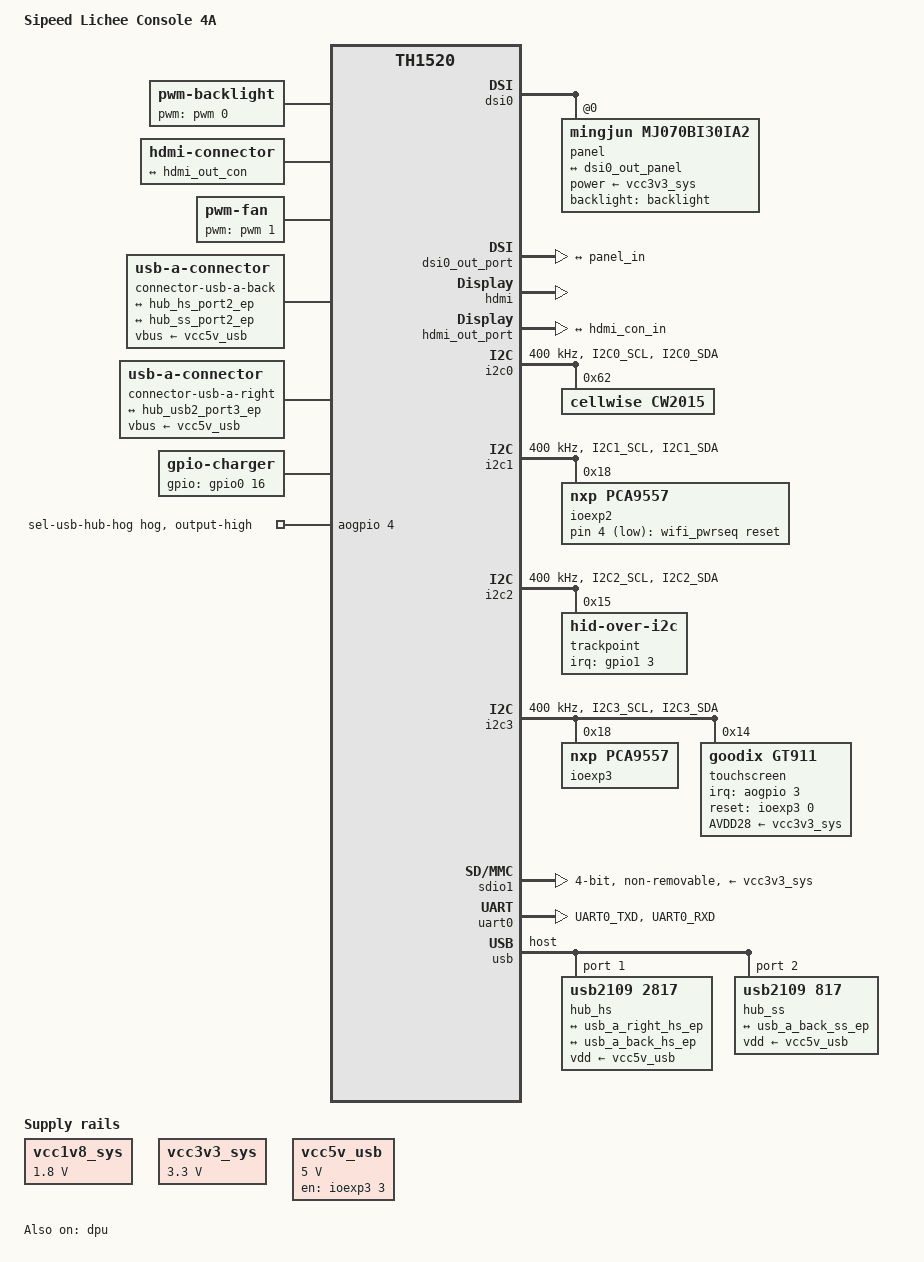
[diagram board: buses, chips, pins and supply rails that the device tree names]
// SPDX-License-Identifier: (GPL-2.0 OR MIT)
/*
 * Copyright (C) 2023 Jisheng Zhang <jszhang@kernel.org>
 */

#include "th1520-lichee-module-4a.dtsi"
#include <dt-bindings/gpio/gpio.h>

/ {
	model = "Sipeed Lichee Console 4A";
	compatible = "sipeed,lichee-console-4a", "sipeed,lichee-module-4a", "thead,th1520";

	aliases {
		gpio0 = &gpio0;
		gpio1 = &gpio1;
		gpio2 = &gpio2;
		gpio3 = &gpio3;
		gpio4 = &gpio4;
		gpio5 = &aogpio;
		serial0 = &uart0;
		serial1 = &uart1;
		serial2 = &uart2;
		serial3 = &uart3;
		serial4 = &uart4;
		serial5 = &uart5;
		spi0 = &spi0;
	};

	backlight: backlight {
		compatible = "pwm-backlight";
		pwms = <&pwm 0 50000 0>;
		brightness-levels = <0 255>;
		default-brightness-level = <8>;
		num-interpolated-steps = <10>;
	};

	chosen {
		stdout-path = "serial0:115200n8";
	};

	hdmi-connector {
		compatible = "hdmi-connector";
		type = "c";

		port {
			hdmi_con_in: endpoint {
				remote-endpoint = <&hdmi_out_con>;
			};
		};
	};

	wifi_pwrseq: wifi-pwrseq {
		compatible = "mmc-pwrseq-simple";
		reset-gpios = <&ioexp2 4 GPIO_ACTIVE_LOW>;
		post-power-on-delay-ms = <200>;
	};

	thermal-zones {
		cpu-thermal {
			polling-delay = <1000>;
			polling-delay-passive = <1000>;
			thermal-sensors = <&pvt 0>;

			trips {
				fan_config0: fan-trip0 {
					temperature = <39000>;
					hysteresis = <5000>;
					type = "active";
				};

				fan_config1: fan-trip1 {
					temperature = <50000>;
					hysteresis = <5000>;
					type = "active";
				};

				fan_config2: fan-trip2 {
					temperature = <60000>;
					hysteresis = <5000>;
					type = "active";
				};
			};

			cooling-maps {
				map-active-0 {
					cooling-device = <&fan 1 1>;
					trip = <&fan_config0>;
				};

				map-active-1 {
					cooling-device = <&fan 2 2>;
					trip = <&fan_config1>;
				};

				map-active-2 {
					cooling-device = <&fan 3 3>;
					trip = <&fan_config2>;
				};
			};
		};
	};

	fan: pwm-fan {
		pinctrl-names = "default";
		pinctrl-0 = <&fan_pins>;
		compatible = "pwm-fan";
		#cooling-cells = <2>;
		pwms = <&pwm 1 10000000 0>;
		cooling-levels = <0 66 196 255>;
	};

	vcc1v8_sys: regulator-sys-1v8 {
		status = "okay";
		compatible = "regulator-fixed";
		regulator-name = "vcc1v8-sys";
		regulator-min-microvolt = <1800000>;
		regulator-max-microvolt = <1800000>;
		regulator-always-on;
	};

	vcc3v3_sys: regulator-sys-3v3 {
		status = "okay";
		compatible = "regulator-fixed";
		regulator-name = "vcc3v3-sys";
		regulator-min-microvolt = <3300000>;
		regulator-max-microvolt = <3300000>;
		regulator-always-on;
	};

	vcc5v_usb: regulator-hub-5v {
		compatible = "regulator-fixed";
		regulator-name = "vcc5v-usb";
		regulator-min-microvolt = <5000000>;
		regulator-max-microvolt = <5000000>;
		gpio = <&ioexp3 3 GPIO_ACTIVE_HIGH>;
		enable-active-high;
	};

	connector-usb-a-back {
		compatible = "usb-a-connector";
		vbus-supply = <&vcc5v_usb>;

		ports {
			#address-cells = <1>;
			#size-cells = <0>;

			port@0 {
				reg = <0>;

				usb_a_back_hs_ep: endpoint {
					remote-endpoint = <&hub_hs_port2_ep>;
				};
			};

			port@1 {
				reg = <1>;

				usb_a_back_ss_ep: endpoint {
					remote-endpoint = <&hub_ss_port2_ep>;
				};
			};
		};
	};

	connector-usb-a-right {
		compatible = "usb-a-connector";
		vbus-supply = <&vcc5v_usb>;

		ports {
			#address-cells = <1>;
			#size-cells = <0>;

			port@0 {
				reg = <0>;

				usb_a_right_hs_ep: endpoint {
					remote-endpoint = <&hub_usb2_port3_ep>;
				};
			};
		};
	};

	/* TODO: USB Type-C connector */

	charger: dc-charger {
		compatible = "gpio-charger";
		charger-type = "mains";
		gpios = <&gpio0 16 GPIO_ACTIVE_HIGH>;
	};
};

&aogpio {
	/* Route USB2 to the onboard hub for normal operation */
	sel-usb-hub-hog {
		gpio-hog;
		gpios = <4 GPIO_ACTIVE_HIGH>;
		output-high;
	};
};

&dpu {
	status = "okay";
};

&dsi0 {
	status = "okay";

	panel@0 {
		compatible = "mingjun,mj070bi30ia2", "ilitek,ili9881c";
		reg = <0>;
		backlight = <&backlight>;
		power-supply = <&vcc3v3_sys>;
		rotation = <90>;

		port {
			panel_in: endpoint {
				remote-endpoint = <&dsi0_out_panel>;
			};
		};
	};
};

&dsi0_out_port {
	dsi0_out_panel: endpoint {
		remote-endpoint = <&panel_in>;
	};
};

&hdmi {
	status = "okay";
};

&hdmi_out_port {
	hdmi_out_con: endpoint {
		remote-endpoint = <&hdmi_con_in>;
	};
};

&i2c0 {
	clock-frequency = <400000>;
	pinctrl-names = "default";
	pinctrl-0 = <&i2c0_pins>;
	status = "okay";

	cw2015: cw2015@62 {
		compatible = "cellwise,cw2015";
		reg = <0x62>;
		cellwise,monitor-interval-ms = <5000>;
		cellwise,battery-profile = /bits/ 8 <
			0x17 0x67 0x72 0x68 0x66 0x63 0x62 0x5A
			0x64 0x61 0x4D 0x57 0x5A 0x51 0x43 0x38
			0x31 0x2A 0x24 0x22 0x29 0x31 0x3E 0x4C
			0x29 0x4D 0x0B 0x85 0x1C 0x38 0x47 0x57
			0x5D 0x5E 0x5F 0x60 0x3F 0x1A 0x6F 0x41
			0x0A 0x43 0x12 0x38 0x7B 0x95 0x9A 0x18
			0x4B 0x6F 0x9E 0xD5 0x80 0x57 0x87 0xCB
			0x2F 0x00 0x64 0xA5 0xB5 0x13 0x54 0xB9
		>;
		power-supplies = <&charger>;
	};
};

&i2c1 {
	clock-frequency = <400000>;
	pinctrl-names = "default";
	pinctrl-0 = <&i2c1_pins>;
	status = "okay";

	ioexp2: gpio@18 {
		compatible = "nxp,pca9557";
		reg = <0x18>;
		gpio-controller;
		#gpio-cells = <2>;
		gpio-line-names = "pow_ctrl_run",
				  "pow_ctrl_sata",
				  "tb_rst_1v8",
				  "", /* to PA_EN via a NC resistor */
				  "wl_host_wake_dev",
				  "bt_resetn",
				  "pow_ctrl_ext",
				  "bt_host_wake_dev";
	};
};

&i2c2 {
	clock-frequency = <400000>;
	pinctrl-names = "default";
	pinctrl-0 = <&i2c2_pins>;
	status = "okay";

	trackpoint: mouse@15 {
		compatible = "hid-over-i2c";
		reg = <0x15>;
		hid-descr-addr = <0x0020>;
		interrupt-parent = <&gpio1>;
		interrupts = <3 IRQ_TYPE_LEVEL_LOW>;
	};
};

&i2c3 {
	clock-frequency = <400000>;
	pinctrl-names = "default";
	pinctrl-0 = <&i2c3_pins>;
	status = "okay";

	ioexp3: gpio@18 {
		compatible = "nxp,pca9557";
		reg = <0x18>;
		gpio-controller;
		#gpio-cells = <2>;
		gpio-line-names = "tp0_rst",
				  "",
				  "",
				  "vcc5v_usb",
				  "",
				  "",
				  "edp_blen",
				  "lcd0_reset";
	};

	touchscreen@14 {
		compatible = "goodix,gt911";
		reg = <0x14>;
		interrupt-parent = <&aogpio>;
		interrupts = <3 IRQ_TYPE_LEVEL_HIGH>;
		irq-gpios = <&aogpio 3 GPIO_ACTIVE_HIGH>;
		reset-gpios = <&ioexp3 0 GPIO_ACTIVE_HIGH>;
		AVDD28-supply = <&vcc3v3_sys>;
		status = "okay";
	};

};

&padctrl0_apsys {
	backlight_pins: backlight-0 {
		pwm0-pins {
			pins = "GPIO3_2"; /* PWM0 */
			function = "pwm";
			bias-disable;
			drive-strength = <25>;
			input-disable;
			input-schmitt-disable;
			slew-rate = <0>;
		};
	};

	fan_pins: fan-0 {
		pwm1-pins {
			pins = "GPIO3_3"; /* PWM1 */
			function = "pwm";
			bias-disable;
			drive-strength = <25>;
			input-disable;
			input-schmitt-disable;
			slew-rate = <0>;
		};
	};

	i2c2_pins: i2c2-0 {
		i2c-pins {
			pins = "I2C2_SCL", "I2C2_SDA";
			function = "i2c";
			bias-pull-up = <2100>;
			drive-strength = <7>;
			input-enable;
			input-schmitt-enable;
			slew-rate = <0>;
		};
	};

	i2c3_pins: i2c3-0 {
		i2c-pins {
			pins = "I2C3_SCL", "I2C3_SDA";
			function = "i2c";
			bias-pull-up = <2100>;
			drive-strength = <7>;
			input-enable;
			input-schmitt-enable;
			slew-rate = <0>;
		};
	};

	uart0_pins: uart0-0 {
		tx-pins {
			pins = "UART0_TXD";
			function = "uart";
			bias-disable;
			drive-strength = <3>;
			input-disable;
			input-schmitt-disable;
			slew-rate = <0>;
		};

		rx-pins {
			pins = "UART0_RXD";
			function = "uart";
			bias-disable;
			drive-strength = <1>;
			input-enable;
			input-schmitt-enable;
			slew-rate = <0>;
		};
	};
};

&padctrl1_apsys {
	i2c0_pins: i2c0-0 {
		i2c-pins {
			pins = "I2C0_SCL", "I2C0_SDA";
			function = "i2c";
			bias-pull-up = <2100>;
			drive-strength = <7>;
			input-enable;
			input-schmitt-enable;
			slew-rate = <0>;
		};
	};

	i2c1_pins: i2c1-0 {
		i2c-pins {
			pins = "I2C1_SCL", "I2C1_SDA";
			function = "i2c";
			bias-pull-up = <2100>;
			drive-strength = <7>;
			input-enable;
			input-schmitt-enable;
			slew-rate = <0>;
		};
	};
};

&sdio1 {
	bus-width = <4>;
	cap-sdio-irq;
	keep-power-in-suspend;
	max-frequency = <198000000>;
	mmc-pwrseq = <&wifi_pwrseq>;
	non-removable;
	vmmc-supply = <&vcc3v3_sys>;
	vqmmc-supply = <&vcc1v8_sys>;
	status = "okay";
};

&uart0 {
	pinctrl-names = "default";
	pinctrl-0 = <&uart0_pins>;
	status = "okay";
};

&usb {
	dr_mode = "host";
	#address-cells = <1>;
	#size-cells = <0>;
	status = "okay";

	hub_hs: hub@1 {
		compatible = "usb2109,2817";
		reg = <1>;
		peer-hub = <&hub_ss>;
		vdd-supply = <&vcc5v_usb>;
		#address-cells = <1>;
		#size-cells = <0>;

		hub_usb2: hub@4 {
			compatible = "usb1a40,0101";
			reg = <4>;
			vdd-supply = <&vcc5v_usb>;

			ports {
				#address-cells = <1>;
				#size-cells = <0>;

				port@3 {
					reg = <3>;

					hub_usb2_port3_ep: endpoint {
						remote-endpoint = <&usb_a_right_hs_ep>;
					};
				};
			};
		};

		ports {
			#address-cells = <1>;
			#size-cells = <0>;

			/* TODO: ASM1153E on port 1 */

			port@2 {
				reg = <2>;

				hub_hs_port2_ep: endpoint {
					remote-endpoint = <&usb_a_back_hs_ep>;
				};
			};

			/* TODO: Type-C on port 3 */
		};
	};

	hub_ss: hub@2 {
		compatible = "usb2109,817";
		reg = <2>;
		peer-hub = <&hub_hs>;
		vdd-supply = <&vcc5v_usb>;

		ports {
			#address-cells = <1>;
			#size-cells = <0>;

			/* TODO: ASM1153E on port 1 */

			port@2 {
				reg = <2>;

				hub_ss_port2_ep: endpoint {
					remote-endpoint = <&usb_a_back_ss_ep>;
				};
			};

			/* TODO: Type-C on port 3 */
		};
	};
};
